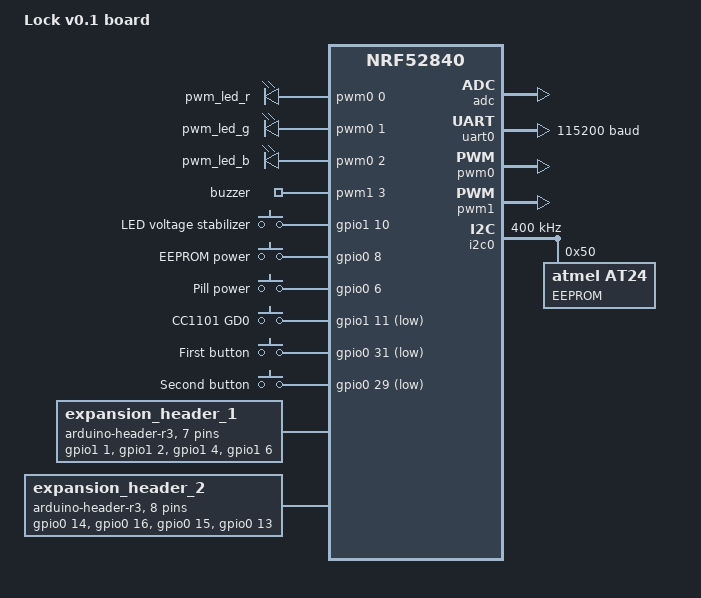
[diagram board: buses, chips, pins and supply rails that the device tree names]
/dts-v1/;
#include <nordic/nrf52840_qiaa.dtsi>
#include "board-pinctrl.dtsi"

/ {
	model = "Lock v0.1 board";
	compatible = "aeremin,lock";

	chosen {
		zephyr,console = &uart0;
		zephyr,shell-uart = &uart0;
		zephyr,uart-mcumgr = &uart0;
		zephyr,bt-mon-uart = &uart0;
		zephyr,bt-c2h-uart = &uart0;
		zephyr,sram = &sram0;
		zephyr,flash = &flash0;
	};

	aliases {
		eeprom = &eeprom;
		eeprom-en = &eeprom_en;

		led-r = &pwm_led_r;
		led-g = &pwm_led_g;
		led-b = &pwm_led_b;
		led-en = &led_en;

		buzzer = &buzzer;
	};

	pwmleds {
		// Need power on 22 for being bright
		compatible = "pwm-leds";
		pwm_led_r: pwm_led_r {
			pwms = <&pwm0 0 PWM_MSEC(20) PWM_POLARITY_INVERTED>;
		};

		pwm_led_g: pwm_led_g {
			pwms = <&pwm0 1 PWM_MSEC(20) PWM_POLARITY_INVERTED>;
		};

		pwm_led_b: pwm_led_b {
			pwms = <&pwm0 2 PWM_MSEC(20) PWM_POLARITY_INVERTED>;
		};
	};

	pwmbuzzer {
		compatible = "pwm-leds";
		buzzer: buzzer {
			pwms = <&pwm1 3 PWM_MSEC(20) PWM_POLARITY_INVERTED>;
		};
	};

	power_control {
		compatible = "gpio-keys";
		led_en: led_en {
			gpios = <&gpio1 10 GPIO_ACTIVE_HIGH>;
			label = "LED voltage stabilizer";
		};

		eeprom_en: eeprom_en {
			gpios = <&gpio0 8 GPIO_ACTIVE_HIGH>;
			label = "EEPROM power";
		};

		pill_en: pill_en {
			gpios = <&gpio0 6 GPIO_ACTIVE_HIGH>;
			label = "Pill power";
		};
	};

	buttons {
		compatible = "gpio-keys";
		reed_switch: reed_switch {
			gpios = <&gpio1 11 (GPIO_PULL_UP | GPIO_ACTIVE_LOW)>;
			label = "CC1101 GD0";
		};

		button_sw1: button_sw1 {
			gpios = <&gpio0 31 (GPIO_PULL_UP | GPIO_ACTIVE_LOW)>;
			label = "First button";
		};

		button_sw2: button_sw2 {
			gpios = <&gpio0 29 (GPIO_PULL_UP | GPIO_ACTIVE_LOW)>;
			label = "Second button";
		};
	};

	expansion_header_1: expansion_header_1 {
		compatible = "arduino-header-r3";
		#gpio-cells = <2>;
		gpio-map-mask = <0xffffffff 0xffffffc0>;
		gpio-map-pass-thru = <0 0x3f>;
		gpio-map = <0 0 &gpio1 1 0>, /* 1 */
							 <1 0 &gpio1 2 0>, /* 2 */
							 <2 0 &gpio1 4 0>, /* 3 */
							 <3 0 &gpio1 6 0>, /* 4 */
							 <4 0 &gpio0 9 0>, /* 5 */
							 <5 0 &gpio0 10 0>,/* 6 */
							 <6 0 &gpio1 7 0>; /* 7 */
	};

	expansion_header_2: expansion_header_2 {
		compatible = "arduino-header-r3";
		#gpio-cells = <2>;
		gpio-map-mask = <0xffffffff 0xffffffc0>;
		gpio-map-pass-thru = <0 0x3f>;
		gpio-map = <0 0 &gpio0 14 0>, /* 1 */
							 <1 0 &gpio0 16 0>, /* 2 */
							 <2 0 &gpio0 15 0>, /* 3 */
							 <3 0 &gpio0 13 0>, /* 4 */
							 <4 0 &gpio0 17 0>, /* 5 */
							 <5 0 &gpio0 19 0>, /* 6 */
							 <6 0 &gpio0 21 0>, /* 7 */
							 <7 0 &gpio0 23 0>; /* 8 */
	};
};

&adc {
	status = "okay";
};

&gpio0 {
	status = "okay";
};

&gpio1 {
	status = "okay";
};

&gpiote {
    status = "okay";
};

&uart0 {
	status = "okay";
	compatible = "nordic,nrf-uart";
	current-speed = <115200>;
	pinctrl-0 = <&uart0_default>;
	pinctrl-names = "default";
};

// LEDs
&pwm0 {
	status = "okay";
	pinctrl-0 = <&pwm0_default>;
	pinctrl-names = "default";
};

// Buzzer
&pwm1 {
	status = "okay";
	pinctrl-0 = <&pwm1_default>;
	pinctrl-names = "default";
};

// EEPROM
// Needs power on eeprom_en
&i2c0 {
	compatible = "nordic,nrf-twi";
	status = "okay";
	pinctrl-0 = <&i2c0_default>;
	pinctrl-names = "default";
	clock-frequency = <I2C_BITRATE_FAST>;

	// Datasheet: https: //datasheet.lcsc.com/lcsc/1811151428_BL-Shanghai-Belling-BL24C256A-SFRC_C110276.pdf
	eeprom: eeprom@50 {
		compatible = "atmel,at24";
		// 1010 (type identifier code) 000 (A0-A2 pins are connected to the ground)
		reg = <0x50>;
		label = "EEPROM";
		size = <DT_SIZE_K(32)>;
		pagesize = <64>;
		address-width = <16>;
		timeout = <3>;
	};
};

&uicr {
	// NFC pins aren't connected to any kind of antenna at this board,
	// instead they are routed to H8 connector as normal GPIOs.
	nfct-pins-as-gpios;
};

&flash0 {
	/*
	 * For more information, see:
	 * http: //docs.zephyrproject.org/latest/guides/dts/index.html#flash-partitions
	 */
	partitions {
		compatible = "fixed-partitions";
		#address-cells = <1>;
		#size-cells = <1>;

		boot_partition: partition@0 {
			label = "mcuboot";
			reg = <0x00000000 0x0000C000>;
		};
		slot0_partition: partition@c000 {
			label = "image-0";
			reg = <0x0000C000 0x00067000>;
		};
		slot1_partition: partition@73000 {
			label = "image-1";
			reg = <0x00073000 0x00067000>;
		};
		scratch_partition: partition@da000 {
			label = "image-scratch";
			reg = <0x000da000 0x0001e000>;
		};

		/*
		 * The flash starting at 0x000f8000 and ending at
		 * 0x000fffff is reserved for use by the application.
		 */

		/*
		 * Storage partition will be used by FCB/LittleFS/NVS
		 * if enabled.
		 */
		storage_partition: partition@f8000 {
			label = "storage";
			reg = <0x000f8000 0x00008000>;
		};
	};
};
